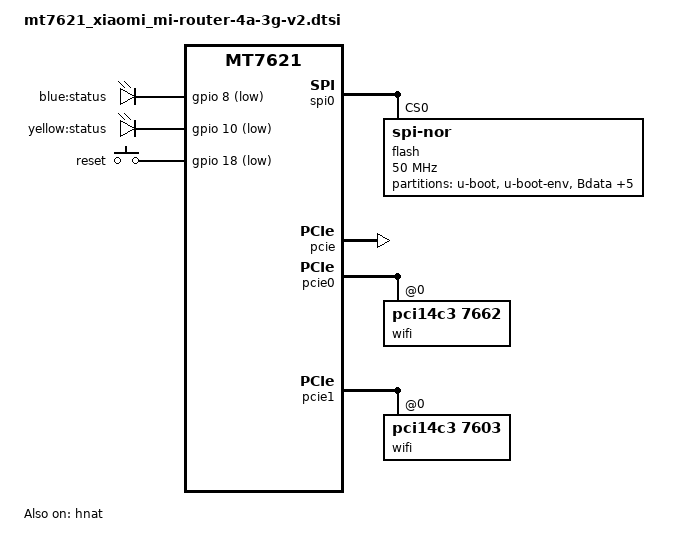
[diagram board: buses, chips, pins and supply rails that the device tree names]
// SPDX-License-Identifier: GPL-2.0-or-later OR MIT

#include "mt7621.dtsi"

#include <dt-bindings/gpio/gpio.h>
#include <dt-bindings/input/input.h>

/ {
	aliases {
		led-boot = &led_status_yellow;
		led-failsafe = &led_status_yellow;
		led-running = &led_status_blue;
		led-upgrade = &led_status_yellow;
		label-mac-device = &wan;
	};

	chosen {
		bootargs = "console=ttyS0,115200n8";
	};

	leds {
		compatible = "gpio-leds";

		led_status_blue: status_blue {
			label = "blue:status";
			gpios = <&gpio 8 GPIO_ACTIVE_LOW>;
		};

		led_status_yellow: status_yellow {
			label = "yellow:status";
			gpios = <&gpio 10 GPIO_ACTIVE_LOW>;
		};
	};

	keys {
		compatible = "gpio-keys";

		reset {
			label = "reset";
			gpios = <&gpio 18 GPIO_ACTIVE_LOW>;
			linux,code = <KEY_RESTART>;
		};
	};
};

&spi0 {
	status = "okay";

	flash@0 {
		compatible = "jedec,spi-nor";
		reg = <0>;
		spi-max-frequency = <50000000>;
		m25p,fast-read;

		partitions {
			compatible = "fixed-partitions";
			#address-cells = <1>;
			#size-cells = <1>;

			partition@0 {
				label = "u-boot";
				reg = <0x0 0x30000>;
				read-only;
			};

			partition@30000 {
				label = "u-boot-env";
				reg = <0x30000 0x10000>;
				read-only;
			};

			partition@40000 {
				label = "Bdata";
				reg = <0x40000 0x10000>;
				read-only;
			};

			factory: partition@50000 {
				label = "factory";
				reg = <0x50000 0x10000>;
				read-only;
			};

			partition@60000 {
				label = "crash";
				reg = <0x60000 0x10000>;
				read-only;
			};

			partition@70000 {
				label = "cfg_bak";
				reg = <0x70000 0x10000>;
				read-only;
			};

			partition@80000 {
				label = "overlay";
				reg = <0x80000 0x100000>;
				read-only;
			};

			firmware: partition@180000 {
				compatible = "denx,uimage";
				label = "firmware";
				reg = <0x180000 0xe80000>;
			};
		};
	};
};

&pcie {
	status = "okay";
};

&pcie0 {
	wifi@0,0 {
		compatible = "pci14c3,7662";
		reg = <0x0000 0 0 0 0>;
		mediatek,mtd-eeprom = <&factory 0x8000>;
		ieee80211-freq-limit = <5000000 6000000>;
	};
};

&pcie1 {
	wifi@0,0 {
		compatible = "pci14c3,7603";
		reg = <0x0000 0 0 0 0>;
		mediatek,mtd-eeprom = <&factory 0x0000>;
		ieee80211-freq-limit = <2400000 2500000>;
	};
};

&gmac0 {
	nvmem-cells = <&macaddr_factory_e000>;
	nvmem-cell-names = "mac-address";
};

&gmac1 {
	nvmem-cells = <&macaddr_factory_e000>;
	nvmem-cell-names = "mac-address";
};

&hnat {
        mtketh-wan = "eth1";
        mtketh-ppd = "eth0";
        mtketh-lan = "eth0";
	ext-devices = "wlan0","wlan1","rax0","ra0", "rai0","apclii0","apclix0", "apcli0";
        mtketh-max-gmac = <2>;
        status = "okay";
};

&gsw {
	mediatek,mdio = <&mdio>;
	mediatek,portmap = "llllw";
	mediatek,mcm;
	mt7530,direct-phy-access;

	resets = <&rstctrl 2>;
	reset-names = "mcm";

	port5: port@5 {
		compatible = "mediatek,mt753x-port";
		reg = <5>;
		phy-mode = "rgmii";
		fixed-link {
			speed = <1000>;
			full-duplex;
		};
	};

	port6: port@6 {
		compatible = "mediatek,mt753x-port";
		reg = <6>;
		phy-mode = "rgmii";
		fixed-link {
			speed = <1000>;
			full-duplex;
		};
	};

	mdio-bus {
		#address-cells = <1>;
		#size-cells = <0>;
	};
};


&switch0 {
	/* must delete compatible property */
	/delete-property/ compatible;
};

&state_default {
	gpio {
		groups = "jtag", "uart2", "uart3", "wdt";
		function = "gpio";
	};
};

&factory {
	compatible = "nvmem-cells";
	#address-cells = <1>;
	#size-cells = <1>;

	macaddr_factory_e000: macaddr@e000 {
		reg = <0xe000 0x6>;
	};

	macaddr_factory_e006: macaddr@e006 {
		reg = <0xe006 0x6>;
	};
};
